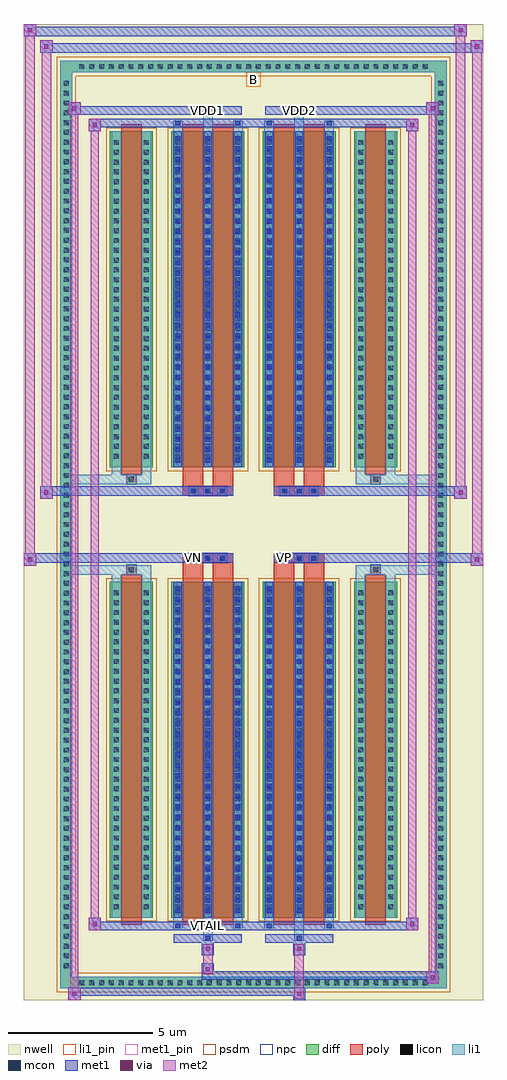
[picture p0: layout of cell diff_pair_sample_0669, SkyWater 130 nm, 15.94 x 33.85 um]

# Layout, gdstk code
import gdstk
lib = gdstk.Library(unit=1e-6, precision=5e-09)
def R(c, l, rs):  # rectangles x0, y0, x1, y1
    for r in rs: c.add(gdstk.rectangle(r[:2], r[2:], *l))
def A(c, l, x, y, w, h, nx, ny, dx, dy):  # array of equal rectangles
    R(c, l, [(x+i*dx, y+j*dy, x+i*dx+w, y+j*dy+h) for i in range(nx) for j in range(ny)])
def P(c, l, *ps):  # polygons
    for p in ps: c.add(gdstk.Polygon(p, *l))
nwell = (64, 20)
diff = (65, 20)
poly = (66, 20)
licon = (66, 44)
li1_pin = (67, 16)
li1 = (67, 20)
mcon = (67, 44)
met1_pin = (68, 16)
met1 = (68, 20)
via = (68, 44)
met2 = (69, 20)
psdm = (94, 20)
npc = (95, 20)

diff_pair_sample_0669 = lib.new_cell('diff_pair_sample_0669')
R(diff_pair_sample_0669, nwell, [(-7.97,-16.49,7.97,17.36), (-5.29,-14.68,-0.01,-0.8), (0.01,-14.68,5.29,-0.8), (-5.29,0.8,-0.01,14.68), (0.01,0.8,5.29,14.68)])
A(diff_pair_sample_0669, diff, -6.155, -16.09, 0.41, 0.41, 36, 2, 0.34, 31.77)
A(diff_pair_sample_0669, diff, -6.7, -15.505, 0.41, 0.41, 1, 91, 0, 0.34)
A(diff_pair_sample_0669, diff, 6.29, -15.505, 0.41, 0.41, 1, 91, 0, 0.34)
R(diff_pair_sample_0669, diff, [(-6.155,-16.09,6.155,-15.68), (-6.7,-15.505,-6.29,15.505), (6.29,-15.505,6.7,15.505), (-4.98,-13.635,-3.49,-1.985), (-2.85,-13.635,-0.32,-1.985), (0.32,-13.635,2.85,-1.985), (3.49,-13.635,4.98,-1.985), (-4.98,1.985,-3.49,13.635), (-2.85,1.985,-0.32,13.635), (0.32,1.985,2.85,13.635), (3.49,1.985,4.98,13.635), (-6.155,15.68,6.155,16.09)])
P(diff_pair_sample_0669, diff, [(6.7,16.09),(-6.7,16.09),(-6.7,-15.68),(-6.29,-15.68),(-6.29,15.68),(6.29,15.68),(6.29,-15.68),(-6.29,-15.68),(-6.7,-15.68),(-6.7,-16.09),(6.7,-16.09)])
A(diff_pair_sample_0669, poly, -2.25, -1.33, 0.33, 0.33, 3, 2, 0.5, 2.33)
A(diff_pair_sample_0669, poly, 0.92, -1.33, 0.33, 0.33, 3, 2, 0.5, 2.33)
R(diff_pair_sample_0669, poly, [(-4.59,-13.885,-3.88,-1.735), (-2.46,-13.885,-1.75,-1.735), (-1.42,-13.885,-0.71,-1.735), (0.71,-13.885,1.42,-1.735), (1.75,-13.885,2.46,-1.735), (3.88,-13.885,4.59,-1.735), (-4.4,-1.735,-4.07,-1.405), (-4.4,-1.735,-4.07,-1.405), (-2.46,-1.735,-1.75,-1.33), (-1.42,-1.735,-0.71,-1.33), (0.71,-1.735,1.42,-1.33), (1.75,-1.735,2.46,-1.33), (4.07,-1.735,4.4,-1.405), (4.07,-1.735,4.4,-1.405), (-2.46,-1.33,-0.71,-1), (0.71,-1.33,2.46,-1), (-2.46,1,-0.71,1.33), (0.71,1,2.46,1.33), (-2.46,1.33,-1.75,1.735), (-1.42,1.33,-0.71,1.735), (0.71,1.33,1.42,1.735), (1.75,1.33,2.46,1.735), (-4.4,1.405,-4.07,1.735), (-4.4,1.405,-4.07,1.735), (4.07,1.405,4.4,1.735), (4.07,1.405,4.4,1.735), (-4.59,1.735,-3.88,13.885), (-2.46,1.735,-1.75,13.885), (-1.42,1.735,-0.71,13.885), (0.71,1.735,1.42,13.885), (1.75,1.735,2.46,13.885), (3.88,1.735,4.59,13.885)])
A(diff_pair_sample_0669, licon, -6.035, -15.97, 0.17, 0.17, 36, 2, 0.34, 31.77)
A(diff_pair_sample_0669, licon, -6.58, -15.385, 0.17, 0.17, 1, 91, 0, 0.34)
A(diff_pair_sample_0669, licon, 6.41, -15.385, 0.17, 0.17, 1, 91, 0, 0.34)
A(diff_pair_sample_0669, licon, -4.84, -13.335, 0.17, 0.17, 1, 33, 0, 0.34)
A(diff_pair_sample_0669, licon, -3.8, -13.335, 0.17, 0.17, 1, 33, 0, 0.34)
A(diff_pair_sample_0669, licon, -2.71, -13.335, 0.17, 0.17, 3, 33, 1.04, 0.34)
A(diff_pair_sample_0669, licon, 0.46, -13.335, 0.17, 0.17, 3, 33, 1.04, 0.34)
A(diff_pair_sample_0669, licon, 3.63, -13.335, 0.17, 0.17, 1, 33, 0, 0.34)
A(diff_pair_sample_0669, licon, 4.67, -13.335, 0.17, 0.17, 1, 33, 0, 0.34)
A(diff_pair_sample_0669, licon, -2.17, -1.25, 0.17, 0.17, 3, 2, 0.5, 2.33)
A(diff_pair_sample_0669, licon, 1, -1.25, 0.17, 0.17, 3, 2, 0.5, 2.33)
A(diff_pair_sample_0669, licon, -4.84, 2.285, 0.17, 0.17, 1, 33, 0, 0.34)
A(diff_pair_sample_0669, licon, -3.8, 2.285, 0.17, 0.17, 1, 33, 0, 0.34)
A(diff_pair_sample_0669, licon, -2.71, 2.285, 0.17, 0.17, 3, 33, 1.04, 0.34)
A(diff_pair_sample_0669, licon, 0.46, 2.285, 0.17, 0.17, 3, 33, 1.04, 0.34)
A(diff_pair_sample_0669, licon, 3.63, 2.285, 0.17, 0.17, 1, 33, 0, 0.34)
A(diff_pair_sample_0669, licon, 4.67, 2.285, 0.17, 0.17, 1, 33, 0, 0.34)
R(diff_pair_sample_0669, licon, [(-4.32,-1.655,-4.15,-1.485), (4.15,-1.655,4.32,-1.485), (-4.32,1.485,-4.15,1.655), (4.15,1.485,4.32,1.655)])
R(diff_pair_sample_0669, li1_pin, [(-0.25,15.18,0.25,15.68)])
A(diff_pair_sample_0669, li1, -6.115, -16.05, 0.33, 0.33, 36, 2, 0.34, 31.77)
A(diff_pair_sample_0669, li1, -6.66, -15.465, 0.33, 0.33, 1, 91, 0, 0.34)
A(diff_pair_sample_0669, li1, 6.33, -15.465, 0.33, 0.33, 1, 91, 0, 0.34)
A(diff_pair_sample_0669, li1, -2.79, -13.635, 0.33, 11.65, 3, 2, 1.04, 15.62)
A(diff_pair_sample_0669, li1, 0.38, -13.635, 0.33, 11.65, 3, 2, 1.04, 15.62)
A(diff_pair_sample_0669, li1, -2.71, -13.475, 0.17, 0.17, 3, 32, 1.04, 0.36)
A(diff_pair_sample_0669, li1, -2.71, -13.475, 0.17, 11.33, 3, 2, 1.04, 15.62)
A(diff_pair_sample_0669, li1, 0.46, -13.475, 0.17, 0.17, 3, 32, 1.04, 0.36)
A(diff_pair_sample_0669, li1, 0.46, -13.475, 0.17, 11.33, 3, 2, 1.04, 15.62)
A(diff_pair_sample_0669, li1, -4.92, -13.415, 0.33, 0.33, 1, 33, 0, 0.34)
A(diff_pair_sample_0669, li1, -3.88, -13.415, 0.33, 0.33, 1, 33, 0, 0.34)
A(diff_pair_sample_0669, li1, -2.79, -13.415, 0.33, 0.33, 3, 33, 1.04, 0.34)
A(diff_pair_sample_0669, li1, 0.38, -13.415, 0.33, 0.33, 3, 33, 1.04, 0.34)
A(diff_pair_sample_0669, li1, 3.55, -13.415, 0.33, 0.33, 1, 33, 0, 0.34)
A(diff_pair_sample_0669, li1, 4.59, -13.415, 0.33, 0.33, 1, 33, 0, 0.34)
A(diff_pair_sample_0669, li1, -2.25, -1.33, 0.33, 0.33, 3, 2, 0.5, 2.33)
A(diff_pair_sample_0669, li1, 0.92, -1.33, 0.33, 0.33, 3, 2, 0.5, 2.33)
A(diff_pair_sample_0669, li1, -2.71, 2.145, 0.17, 0.17, 3, 32, 1.04, 0.36)
A(diff_pair_sample_0669, li1, 0.46, 2.145, 0.17, 0.17, 3, 32, 1.04, 0.36)
A(diff_pair_sample_0669, li1, -4.92, 2.205, 0.33, 0.33, 1, 33, 0, 0.34)
A(diff_pair_sample_0669, li1, -3.88, 2.205, 0.33, 0.33, 1, 33, 0, 0.34)
A(diff_pair_sample_0669, li1, -2.79, 2.205, 0.33, 0.33, 3, 33, 1.04, 0.34)
A(diff_pair_sample_0669, li1, 0.38, 2.205, 0.33, 0.33, 3, 33, 1.04, 0.34)
A(diff_pair_sample_0669, li1, 3.55, 2.205, 0.33, 0.33, 1, 33, 0, 0.34)
A(diff_pair_sample_0669, li1, 4.59, 2.205, 0.33, 0.33, 1, 33, 0, 0.34)
R(diff_pair_sample_0669, li1, [(-6.7,-16.09,-6.29,-15.68), (-6.7,-16.09,-6.29,-15.68), (-6.29,-16.09,6.29,-15.68), (6.29,-16.09,6.7,-15.68), (6.29,-16.09,6.7,-15.68), (-6.7,-15.68,-6.29,15.68), (6.29,-15.68,6.7,15.68), (-1.75,-14.44,-1.42,-13.635), (-1.67,-14.44,-1.5,-14.27), (1.42,-14.44,1.75,-13.635), (1.5,-14.44,1.67,-14.27), (-2.79,-14.01,-2.46,-13.635), (-2.71,-14.01,-2.54,-13.84), (-0.71,-14.01,-0.38,-13.635), (-0.63,-14.01,-0.46,-13.84), (0.38,-14.01,0.71,-13.635), (0.46,-14.01,0.63,-13.84), (2.46,-14.01,2.79,-13.635), (2.54,-14.01,2.71,-13.84), (-4.92,-13.635,-4.59,-1.985), (-3.88,-13.635,-3.55,-1.985), (3.55,-13.635,3.88,-1.985), (4.59,-13.635,4.92,-1.985), (-4.92,-1.985,-4.59,-1.405), (-3.88,-1.985,-3.55,-1.405), (3.55,-1.985,3.88,-1.405), (4.59,-1.985,4.92,-1.405), (-6.7,-1.735,-4.4,-1.405), (-4.92,-1.735,-4.4,-1.405), (-4.4,-1.735,-4.07,-1.405), (-4.07,-1.735,-3.55,-1.405), (3.55,-1.735,4.07,-1.405), (4.07,-1.735,4.4,-1.405), (4.07,-1.735,6.7,-1.405), (4.4,-1.735,4.92,-1.405), (-6.7,1.405,-4.4,1.735), (-4.92,1.405,-4.4,1.735), (-4.92,1.405,-4.59,1.985), (-4.4,1.405,-4.07,1.735), (-4.07,1.405,-3.55,1.735), (-3.88,1.405,-3.55,1.985), (3.55,1.405,4.07,1.735), (3.55,1.405,3.88,1.985), (4.07,1.405,4.4,1.735), (4.07,1.405,6.7,1.735), (4.4,1.405,4.92,1.735), (4.59,1.405,4.92,1.985), (-4.92,1.985,-4.59,13.635), (-3.88,1.985,-3.55,13.635), (3.55,1.985,3.88,13.635), (4.59,1.985,4.92,13.635), (-2.79,13.635,-2.46,14.01), (-1.75,13.635,-1.42,14.44), (-0.71,13.635,-0.38,14.01), (0.38,13.635,0.71,14.01), (1.42,13.635,1.75,14.44), (2.46,13.635,2.79,14.01), (-2.71,13.84,-2.54,14.01), (-0.63,13.84,-0.46,14.01), (0.46,13.84,0.63,14.01), (2.54,13.84,2.71,14.01), (-1.67,14.27,-1.5,14.44), (1.5,14.27,1.67,14.44), (-6.7,15.68,-6.29,16.09), (-6.7,15.68,-6.29,16.09), (-6.29,15.68,6.29,16.09), (6.29,15.68,6.7,16.09), (6.29,15.68,6.7,16.09)])
A(diff_pair_sample_0669, mcon, -2.71, -13.475, 0.17, 0.17, 3, 32, 1.04, 0.36)
A(diff_pair_sample_0669, mcon, 0.46, -13.475, 0.17, 0.17, 3, 32, 1.04, 0.36)
A(diff_pair_sample_0669, mcon, -2.17, -1.25, 0.17, 0.17, 3, 2, 0.5, 2.33)
A(diff_pair_sample_0669, mcon, 1, -1.25, 0.17, 0.17, 3, 2, 0.5, 2.33)
A(diff_pair_sample_0669, mcon, -2.71, 2.145, 0.17, 0.17, 3, 32, 1.04, 0.36)
A(diff_pair_sample_0669, mcon, 0.46, 2.145, 0.17, 0.17, 3, 32, 1.04, 0.36)
R(diff_pair_sample_0669, mcon, [(-1.67,-14.44,-1.5,-14.27), (1.5,-14.44,1.67,-14.27), (-2.71,-14.01,-2.54,-13.84), (-0.63,-14.01,-0.46,-13.84), (0.46,-14.01,0.63,-13.84), (2.54,-14.01,2.71,-13.84), (-2.71,13.84,-2.54,14.01), (-0.63,13.84,-0.46,14.01), (0.46,13.84,0.63,14.01), (2.54,13.84,2.71,14.01), (-1.67,14.27,-1.5,14.44), (1.5,14.27,1.67,14.44)])
R(diff_pair_sample_0669, met1_pin, [(-1.72,-14.05,-1.45,-13.78), (-2.22,-1.29,-1.95,-1.02), (0.95,-1.29,1.22,-1.02), (-1.72,14.23,-1.45,14.5), (1.45,14.23,1.72,14.5)])
A(diff_pair_sample_0669, met1, -2.77, -13.635, 0.29, 11.65, 3, 2, 1.04, 15.62)
A(diff_pair_sample_0669, met1, 0.4, -13.635, 0.29, 11.65, 3, 2, 1.04, 15.62)
A(diff_pair_sample_0669, met1, -2.77, -13.535, 0.29, 0.29, 3, 32, 1.04, 0.36)
A(diff_pair_sample_0669, met1, 0.4, -13.535, 0.29, 0.29, 3, 32, 1.04, 0.36)
A(diff_pair_sample_0669, met1, -2.23, -1.31, 0.29, 0.29, 3, 2, 0.5, 2.33)
A(diff_pair_sample_0669, met1, 0.94, -1.31, 0.29, 0.29, 3, 2, 0.5, 2.33)
A(diff_pair_sample_0669, met1, -2.77, 2.085, 0.29, 0.29, 3, 32, 1.04, 0.36)
A(diff_pair_sample_0669, met1, 0.4, 2.085, 0.29, 0.29, 3, 32, 1.04, 0.36)
R(diff_pair_sample_0669, met1, [(-6.43,-16.49,-6,-16.06), (1.37,-16.49,1.8,-16.06), (-6.43,-16.35,1.8,-16.06), (6,-15.92,6.43,-15.49), (-1.8,-15.78,6.43,-15.49), (-1.8,-15.64,-1.37,-15.21), (-1.8,-14.93,-1.37,-14.5), (1.37,-14.93,1.8,-14.5), (-2.77,-14.5,-0.4,-14.21), (-1.73,-14.5,-1.44,-14.21), (0.4,-14.5,2.77,-14.21), (1.44,-14.5,1.73,-14.21), (-5.72,-14.07,-5.29,-13.64), (-5.72,-14.07,-2.77,-13.78), (-2.77,-14.07,-2.48,-13.78), (-2.77,-14.07,-0.4,-13.78), (-0.69,-14.07,-0.4,-13.78), (-0.4,-14.07,0.4,-13.78), (0.4,-14.07,0.69,-13.78), (0.4,-14.07,2.77,-13.78), (2.48,-14.07,2.77,-13.78), (2.77,-14.07,5.72,-13.78), (5.29,-14.07,5.72,-13.64), (-7.97,-1.43,-7.54,-1), (7.54,-1.43,7.97,-1), (-7.97,-1.33,-0.71,-1), (-2.46,-1.33,-0.71,-1), (0.71,-1.33,2.46,-1), (0.71,-1.33,7.97,-1), (-7.4,0.9,-6.97,1.33), (6.97,0.9,7.4,1.33), (-7.4,1,-2.46,1.33), (-2.46,1,-0.71,1.33), (0.71,1,2.46,1.33), (2.46,1,7.4,1.33), (-5.72,13.64,-5.29,14.07), (5.29,13.64,5.72,14.07), (-5.72,13.78,-2.77,14.07), (-2.77,13.78,-2.48,14.07), (-2.77,13.78,-0.4,14.07), (-0.69,13.78,-0.4,14.07), (-0.4,13.78,0.4,14.07), (0.4,13.78,0.69,14.07), (0.4,13.78,2.77,14.07), (2.48,13.78,2.77,14.07), (2.77,13.78,5.72,14.07), (-6.43,14.21,-6,14.64), (-6.43,14.21,-2.77,14.5), (-2.77,14.21,-0.4,14.5), (-1.73,14.21,-1.44,14.5), (0.4,14.21,2.77,14.5), (1.44,14.21,1.73,14.5), (2.77,14.21,6.43,14.5), (6,14.21,6.43,14.64), (-7.4,16.36,-6.97,16.79), (-7.4,16.36,-5.29,16.69), (-5.29,16.36,5.29,16.69), (5.29,16.36,7.97,16.69), (7.54,16.36,7.97,16.79), (-7.97,16.93,-7.54,17.36), (-7.97,16.93,-5.29,17.26), (-5.29,16.93,5.29,17.26), (5.29,16.93,7.4,17.26), (6.97,16.93,7.4,17.36)])
R(diff_pair_sample_0669, via, [(-6.29,-16.35,-6.14,-16.2), (1.51,-16.35,1.66,-16.2), (6.14,-15.78,6.29,-15.63), (-1.66,-15.5,-1.51,-15.35), (-1.66,-14.79,-1.51,-14.64), (1.51,-14.79,1.66,-14.64), (-5.58,-13.93,-5.43,-13.78), (5.43,-13.93,5.58,-13.78), (-7.83,-1.29,-7.68,-1.14), (7.68,-1.29,7.83,-1.14), (-7.26,1.04,-7.11,1.19), (7.11,1.04,7.26,1.19), (-5.58,13.78,-5.43,13.93), (5.43,13.78,5.58,13.93), (-6.29,14.35,-6.14,14.5), (6.14,14.35,6.29,14.5), (-7.26,16.5,-7.11,16.65), (7.68,16.5,7.83,16.65), (-7.83,17.07,-7.68,17.22), (7.11,17.07,7.26,17.22)])
R(diff_pair_sample_0669, met2, [(-6.43,-16.49,-6,-16.06), (-6.36,-16.49,-6.07,14.64), (-6.07,-16.49,-6,-16.06), (-6.38,-16.44,-6.05,-16.11), (1.42,-16.44,1.75,-16.11), (1.42,-16.11,1.75,-14.88), (6,-15.92,6.43,-15.49), (6.07,-15.92,6.36,14.64), (6.36,-15.92,6.43,-15.49), (6.05,-15.87,6.38,-15.54), (-1.75,-15.59,-1.42,-15.26), (-1.75,-15.26,-1.42,-14.88), (-1.75,-14.88,-1.42,-14.55), (1.42,-14.88,1.75,-14.55), (-5.72,-14.07,-5.29,-13.64), (-5.65,-14.07,-5.36,14.07), (-5.36,-14.07,-5.29,-13.64), (5.29,-14.07,5.72,-13.64), (5.36,-14.07,5.65,14.07), (5.65,-14.07,5.72,-13.64), (-5.67,-14.02,-5.34,-13.69), (5.34,-14.02,5.67,-13.69), (-7.97,-1.43,-7.54,-1), (-7.92,-1.43,-7.59,17.36), (-7.59,-1.43,-7.54,-1), (7.54,-1.43,7.97,-1), (7.59,-1.43,7.92,16.79), (7.92,-1.43,7.97,-1), (-7.92,-1.38,-7.59,-1.05), (7.59,-1.38,7.92,-1.05), (-7.4,0.9,-6.97,1.33), (-7.35,0.9,-7.02,16.79), (-7.02,0.9,-6.97,1.33), (6.97,0.9,7.4,1.33), (7.02,0.9,7.35,17.36), (7.35,0.9,7.4,1.33), (-7.35,0.95,-7.02,1.28), (7.02,0.95,7.35,1.28), (-5.72,13.64,-5.29,14.07), (-5.36,13.64,-5.29,14.07), (5.29,13.64,5.72,14.07), (5.65,13.64,5.72,14.07), (-5.67,13.69,-5.34,14.02), (5.34,13.69,5.67,14.02), (-6.43,14.21,-6,14.64), (-6.07,14.21,-6,14.64), (6,14.21,6.43,14.64), (6.36,14.21,6.43,14.64), (-6.38,14.26,-6.05,14.59), (6.05,14.26,6.38,14.59), (-7.4,16.36,-6.97,16.79), (-7.02,16.36,-6.97,16.79), (7.54,16.36,7.97,16.79), (7.92,16.36,7.97,16.79), (-7.35,16.41,-7.02,16.74), (7.59,16.41,7.92,16.74), (-7.97,16.93,-7.54,17.36), (-7.59,16.93,-7.54,17.36), (6.97,16.93,7.4,17.36), (7.35,16.93,7.4,17.36), (-7.92,16.98,-7.59,17.31), (7.02,16.98,7.35,17.31)])
R(diff_pair_sample_0669, psdm, [(-5.11,-13.765,-3.36,-1.855), (-2.98,-13.765,-0.19,-1.855), (0.19,-13.765,2.98,-1.855), (3.36,-13.765,5.11,-1.855), (-5.11,1.855,-3.36,13.765), (-2.98,1.855,-0.19,13.765), (0.19,1.855,2.98,13.765), (3.36,1.855,5.11,13.765)])
P(diff_pair_sample_0669, psdm, [(6.83,16.22),(-6.83,16.22),(-6.83,-15.55),(-6.16,-15.55),(-6.16,15.55),(6.16,15.55),(6.16,-15.55),(-6.16,-15.55),(-6.83,-15.55),(-6.83,-16.22),(6.83,-16.22)])
A(diff_pair_sample_0669, npc, -2.27, -1.35, 0.37, 0.37, 3, 2, 0.5, 2.33)
A(diff_pair_sample_0669, npc, 0.9, -1.35, 0.37, 0.37, 3, 2, 0.5, 2.33)
R(diff_pair_sample_0669, npc, [(-4.42,-1.755,-4.05,-1.385), (4.05,-1.755,4.42,-1.385), (-2.27,-1.35,-1.4,-0.98), (-2.27,-1.35,-1.4,-0.98), (-1.77,-1.35,-0.9,-0.98), (-1.77,-1.35,-0.9,-0.98), (0.9,-1.35,1.77,-0.98), (0.9,-1.35,1.77,-0.98), (1.4,-1.35,2.27,-0.98), (1.4,-1.35,2.27,-0.98), (-2.27,0.98,-1.4,1.35), (-2.27,0.98,-1.4,1.35), (-1.77,0.98,-0.9,1.35), (-1.77,0.98,-0.9,1.35), (0.9,0.98,1.77,1.35), (0.9,0.98,1.77,1.35), (1.4,0.98,2.27,1.35), (1.4,0.98,2.27,1.35), (-4.42,1.385,-4.05,1.755), (4.05,1.385,4.42,1.755)])
diff_pair_sample_0669.add(gdstk.Label('VTAIL', (-1.585,-13.915), layer=68, texttype=5))
diff_pair_sample_0669.add(gdstk.Label('VN', (-2.085,-1.155), layer=68, texttype=5))
diff_pair_sample_0669.add(gdstk.Label('VP', (1.085,-1.155), layer=68, texttype=5))
diff_pair_sample_0669.add(gdstk.Label('B', (0,15.43), layer=67, texttype=5))
diff_pair_sample_0669.add(gdstk.Label('VDD2', (1.585,14.365), layer=68, texttype=5))
diff_pair_sample_0669.add(gdstk.Label('VDD1', (-1.585,14.365), layer=68, texttype=5))

lib.write_gds('diff_pair_sample_0669.gds')
